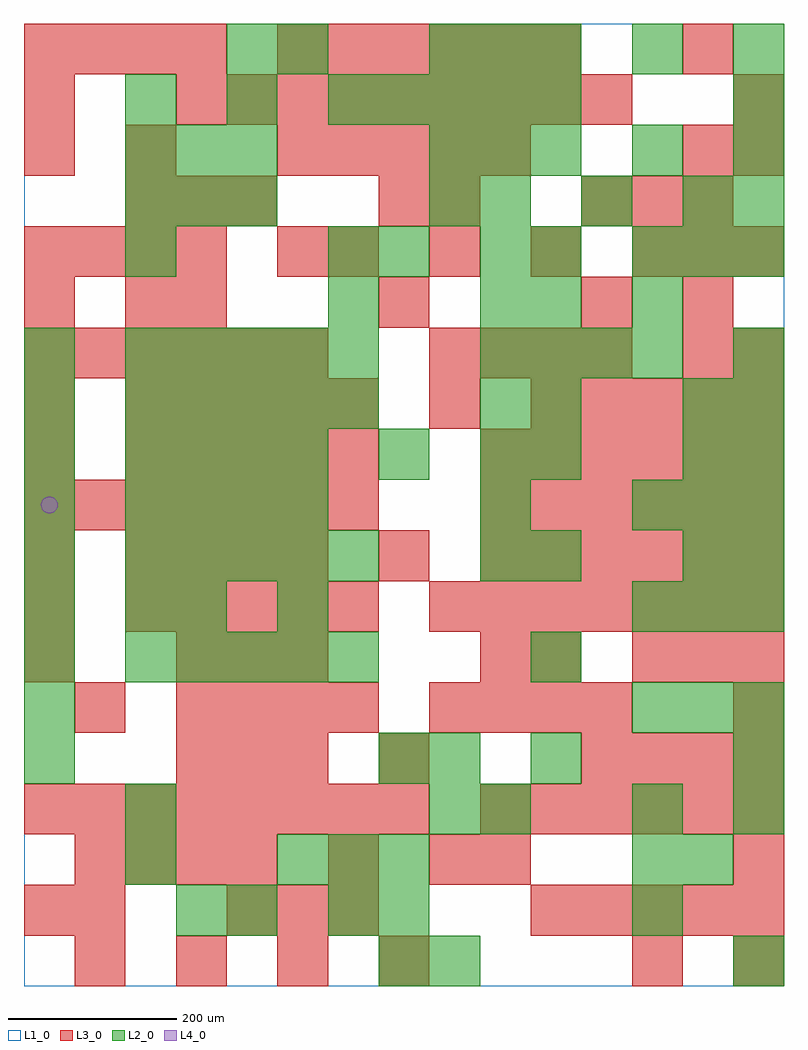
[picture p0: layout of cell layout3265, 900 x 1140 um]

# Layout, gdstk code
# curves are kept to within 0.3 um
import gdstk
lib = gdstk.Library(unit=1e-6, precision=1e-09)
def R(c, l, rs):  # rectangles x0, y0, x1, y1
    for r in rs: c.add(gdstk.rectangle(r[:2], r[2:], *l))
def A(c, l, x, y, w, h, nx, ny, dx, dy):  # array of equal rectangles
    R(c, l, [(x+i*dx, y+j*dy, x+i*dx+w, y+j*dy+h) for i in range(nx) for j in range(ny)])
def P(c, l, *ps):  # polygons
    for p in ps: c.add(gdstk.Polygon(p, *l))
L1_0 = (1, 0)
L2_0 = (2, 0)
L3_0 = (3, 0)
L4_0 = (4, 0)

layout3265 = lib.new_cell('layout3265')
R(layout3265, L1_0, [(0,0,900,1140)])
A(layout3265, L2_0, 720, 60, 60, 60, 1, 3, 0, 60)
A(layout3265, L2_0, 300, 120, 60, 60, 3, 1, 60, 0)
A(layout3265, L2_0, 0, 240, 60, 60, 1, 9, 0, 60)
A(layout3265, L2_0, 600, 240, 60, 60, 1, 4, 0, 120)
A(layout3265, L2_0, 720, 300, 60, 60, 3, 3, 60, 120)
A(layout3265, L2_0, 120, 360, 60, 60, 5, 2, 60, 120)
A(layout3265, L2_0, 540, 480, 60, 60, 1, 4, 0, 60)
A(layout3265, L2_0, 120, 540, 60, 60, 4, 2, 60, 60)
A(layout3265, L2_0, 840, 600, 60, 60, 1, 3, 0, 60)
A(layout3265, L2_0, 120, 660, 60, 60, 5, 2, 60, 60)
A(layout3265, L2_0, 540, 720, 60, 60, 4, 1, 60, 0)
A(layout3265, L2_0, 720, 840, 60, 60, 3, 1, 60, 0)
A(layout3265, L2_0, 120, 900, 60, 60, 3, 2, 60, 60)
A(layout3265, L2_0, 540, 900, 60, 60, 3, 1, 120, 0)
A(layout3265, L2_0, 840, 900, 60, 60, 1, 4, 0, 60)
A(layout3265, L2_0, 480, 960, 60, 60, 3, 2, 60, 120)
A(layout3265, L2_0, 120, 1020, 60, 60, 3, 1, 120, 0)
A(layout3265, L2_0, 420, 1020, 60, 60, 4, 1, 60, 0)
R(layout3265, L2_0, [(420,0,480,60), (480,0,540,60), (840,0,900,60), (180,60,240,120), (240,60,300,120), (360,60,420,120), (420,60,480,120), (120,120,180,180), (780,120,840,180), (120,180,180,240), (480,180,540,240), (540,180,600,240), (840,180,900,240), (420,240,480,300), (480,240,540,300), (840,240,900,300), (120,420,180,480), (180,420,240,480), (300,420,360,480), (780,480,840,540), (840,480,900,540), (420,600,480,660), (780,600,840,660), (600,660,660,720), (780,660,840,720), (360,780,420,840), (540,780,600,840), (600,780,660,840), (720,780,780,840), (120,840,180,900), (360,840,420,900), (420,840,480,900), (540,840,600,900), (600,840,660,900), (480,900,540,960), (720,960,780,1020), (240,1080,300,1140), (300,1080,360,1140), (720,1080,780,1140)])
A(layout3265, L3_0, 60, 0, 60, 60, 4, 1, 120, 0)
A(layout3265, L3_0, 240, 60, 60, 60, 3, 1, 60, 0)
A(layout3265, L3_0, 600, 60, 60, 60, 5, 2, 60, 600)
A(layout3265, L3_0, 60, 120, 60, 60, 4, 1, 60, 0)
A(layout3265, L3_0, 0, 180, 60, 60, 8, 1, 60, 0)
A(layout3265, L3_0, 540, 180, 60, 60, 6, 2, 60, 300)
A(layout3265, L3_0, 180, 240, 60, 60, 3, 2, 60, 120)
A(layout3265, L3_0, 660, 240, 60, 60, 4, 1, 60, 0)
A(layout3265, L3_0, 180, 300, 60, 60, 4, 1, 60, 0)
A(layout3265, L3_0, 480, 300, 60, 60, 4, 2, 60, 420)
A(layout3265, L3_0, 0, 360, 60, 60, 1, 3, 0, 60)
A(layout3265, L3_0, 720, 360, 60, 60, 3, 1, 60, 0)
A(layout3265, L3_0, 120, 420, 60, 60, 5, 2, 60, 180)
A(layout3265, L3_0, 480, 420, 60, 60, 7, 1, 60, 0)
A(layout3265, L3_0, 120, 480, 60, 60, 4, 1, 60, 0)
A(layout3265, L3_0, 0, 540, 60, 60, 7, 1, 60, 0)
A(layout3265, L3_0, 540, 540, 60, 60, 6, 2, 60, 60)
A(layout3265, L3_0, 120, 660, 60, 60, 5, 1, 60, 0)
A(layout3265, L3_0, 0, 720, 60, 60, 6, 1, 60, 0)
A(layout3265, L3_0, 780, 720, 60, 60, 1, 3, 0, 60)
A(layout3265, L3_0, 840, 720, 60, 60, 1, 3, 0, 120)
A(layout3265, L3_0, 180, 780, 60, 60, 3, 1, 240, 0)
A(layout3265, L3_0, 0, 840, 60, 60, 4, 2, 60, 240)
A(layout3265, L3_0, 360, 840, 60, 60, 4, 1, 120, 0)
A(layout3265, L3_0, 120, 900, 60, 60, 3, 1, 60, 0)
A(layout3265, L3_0, 660, 900, 60, 60, 3, 1, 60, 0)
A(layout3265, L3_0, 300, 960, 60, 60, 5, 1, 60, 0)
A(layout3265, L3_0, 180, 1020, 60, 60, 9, 1, 60, 0)
A(layout3265, L3_0, 300, 1080, 60, 60, 6, 1, 60, 0)
R(layout3265, L3_0, [(720,0,780,60), (840,0,900,60), (0,60,60,120), (60,60,120,120), (360,120,420,180), (480,120,540,180), (540,120,600,180), (840,120,900,180), (420,240,480,300), (60,300,120,360), (840,300,900,360), (540,360,600,420), (600,360,660,420), (420,480,480,540), (0,600,60,660), (0,660,60,720), (480,660,540,720), (0,780,60,840), (120,780,180,840), (300,840,360,900), (420,900,480,960), (480,900,540,960), (0,960,60,1020), (120,960,180,1020), (780,960,840,1020), (0,1020,60,1080), (840,1020,900,1080), (780,1080,840,1140)])
P(layout3265, L4_0, [(40,570),(39.239,573.827),(37.071,577.071),(33.827,579.239),(30,580),(26.173,579.239),(22.929,577.071),(20.761,573.827),(20,570),(20.761,566.173),(22.929,562.929),(26.173,560.761),(30,560),(33.827,560.761),(37.071,562.929),(39.239,566.173)])

lib.write_gds('layout3265.gds')
